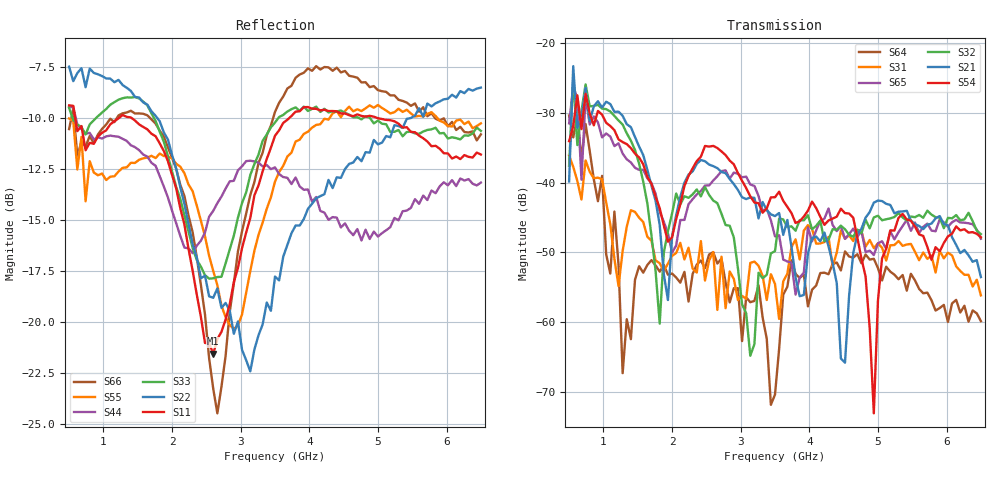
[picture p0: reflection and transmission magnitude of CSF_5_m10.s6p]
!Keysight Technologies,M9804A,MY58100912,A.14.10.03
!Date: Thursday, April 27, 2023 10:28:33
!Correction: S11(C  6-Port  )
!S12(C  6-Port  )
!S13(C  6-Port  )
!S14(C  6-Port  )
!S15(C  6-Port  )
!S16(C  6-Port  )
!S21(C  6-Port  )
!S22(C  6-Port  )
!S23(C  6-Port  )
!S24(C  6-Port  )
!S25(C  6-Port  )
!S26(C  6-Port  )
!S31(C  6-Port  )
!S32(C  6-Port  )
!S33(C  6-Port  )
!S34(C  6-Port  )
!S35(C  6-Port  )
!S36(C  6-Port  )
!S41(C  6-Port  )
!S42(C  6-Port  )
!S43(C  6-Port  )
!S44(C  6-Port  )
!S45(C  6-Port  )
!S46(C  6-Port  )
!S51(C  6-Port  )
!S52(C  6-Port  )
!S53(C  6-Port  )
!S54(C  6-Port  )
!S55(C  6-Port  )
!S56(C  6-Port  )
!S61(C  6-Port  )
!S62(C  6-Port  )
!S63(C  6-Port  )
!S64(C  6-Port  )
!S65(C  6-Port  )
!S66(C  6-Port  )
!S6P File: Measurement: :
# Hz S  RI  R 50
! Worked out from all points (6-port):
!   101 points, 500 MHz to 6.5 GHz, reference 50 ohm
!   strongest paths, dB at 500 MHz, 2 GHz, 3.5 GHz, 5 GHz, 6.5 GHz:
!     S54: -34.0, -47.8, -42.1, -56.9, -47.8
!     S21: -39.8, -47.7, -44.8, -42.6, -53.5
!     S32: -37.6, -44.4, -49.8, -44.7, -47.4
!     S65: -31.5, -50.0, -47.7, -48.7, -48.0
!     S31: -36.1, -50.5, -54.5, -48.7, -56.2
!     S64: -30.4, -53.0, -70.4, -52.2, -59.8
!   lowest |S11| = -21.6 dB at 2.6 GHz (marker M1), VSWR 1.18, Z = 42.6 + j2.06 ohm
!   |S11| at or under -10 dB: 587.8 MHz to 1.234 GHz (645.8 MHz wide, 70.9 % of centre); 1.401 GHz to 3.715 GHz (2.314 GHz wide, 90.4 % of centre); 4.973 GHz to end of sweep
